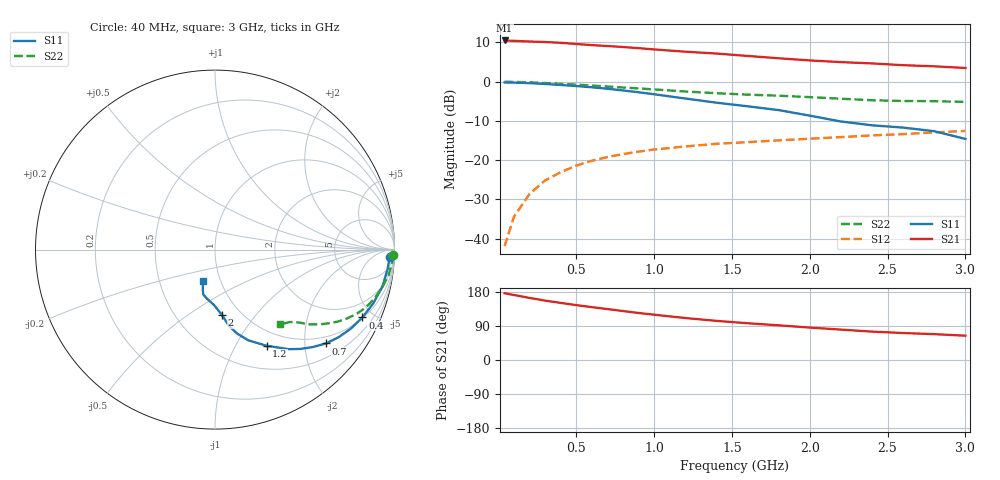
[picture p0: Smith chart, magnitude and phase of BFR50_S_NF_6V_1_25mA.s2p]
! Filename:  BFR505H.S2P  Version:  3.0
! Philips part #: BFR505  Date: Feb 1992
! Bias condition: Vce=6V, Ic=1.25mA
#  MHz  S  MA  R  50
! Freq  S11  S21  S12  S22  !GUM [dB]
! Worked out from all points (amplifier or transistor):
!   21 points, 40 MHz to 3 GHz, reference 50 ohm
!   highest |S21| = 10.5 dB at 40 MHz (marker M1)
!   |S21| within 3 dB of that: start of sweep to 1.258 GHz
!   unconditionally stable (mu >= 1): 2.177 GHz to end of sweep
!   at 300 MHz: K = 0.20, MSG = 17.6 dB, |S12| = -25.2 dB
!   at 1 GHz: K = 0.51, MSG = 12.8 dB, |S12| = -17.3 dB
!   at 3 GHz: K = 1.12, MAG = 5.9 dB, |S12| = -12.6 dB
!   lowest NFmin = 1.20 dB at 900 MHz
!   S11 on the Smith chart (normalised r, x): 40 MHz: 20, -34; 400 MHz: 1.05, -4.33; 700 MHz: 0.82, -2.50; 1.2 GHz: 0.79, -1.35; 2 GHz: 0.82, -0.69; 3 GHz: 0.83, -0.30
40  0.974 -2.5  3.336 176.2  0.008 88.8  0.993 -1.8
100  0.968 -6.4  3.297 171.5  0.019 85.5  0.989 -4.2
200  0.955 -12.6  3.235 163.9  0.037 80.6  0.978 -8.4
300  0.931 -18.8  3.184 156.7  0.055 76.9  0.957 -12.3
400  0.904 -24.7  3.116 150.7  0.07 73.6  0.936 -15.8
500  0.876 -30.1  3.009 144.8  0.085 70.6  0.914 -19.2
600  0.845 -35.2  2.91 139.5  0.098 67.9  0.889 -22.1
700  0.81 -40.2  2.834 134.4  0.109 65.6  0.864 -24.7
800  0.77 -44.8  2.754 129.2  0.119 63.5  0.839 -26.7
900  0.73 -49.3  2.662 124.1  0.128 61.8  0.817 -28.6
1000  0.689 -53.6  2.565 119.5  0.136 60.1  0.794 -30.3
1200  0.608 -61.8  2.399 110.8  0.149 57.6  0.747 -33.5
1400  0.538 -69.9  2.273 103.3  0.161 56.1  0.71 -36.0
1600  0.484 -75.2  2.119 97.0  0.169 55.3  0.681 -37.7
1800  0.433 -79.6  1.978 91.5  0.178 55.6  0.66 -39.2
2000  0.368 -83.8  1.857 85.6  0.187 55.3  0.633 -40.2
2200  0.31 -90.8  1.768 80.2  0.196 55.2  0.604 -42.0
2400  0.277 -99.2  1.701 74.9  0.206 55.1  0.578 -44.3
2600  0.259 -104.6  1.615 71.2  0.214 55.9  0.565 -46.8
2800  0.233 -107.0  1.562 68.2  0.225 57.3  0.562 -48.2
3000  0.186 -111.2  1.488 64.1  0.235 57.6  0.55 -48.8
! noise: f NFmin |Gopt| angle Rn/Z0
900  1.2  0.694  17  0.87
2000  1.9  0.58  51  0.58
